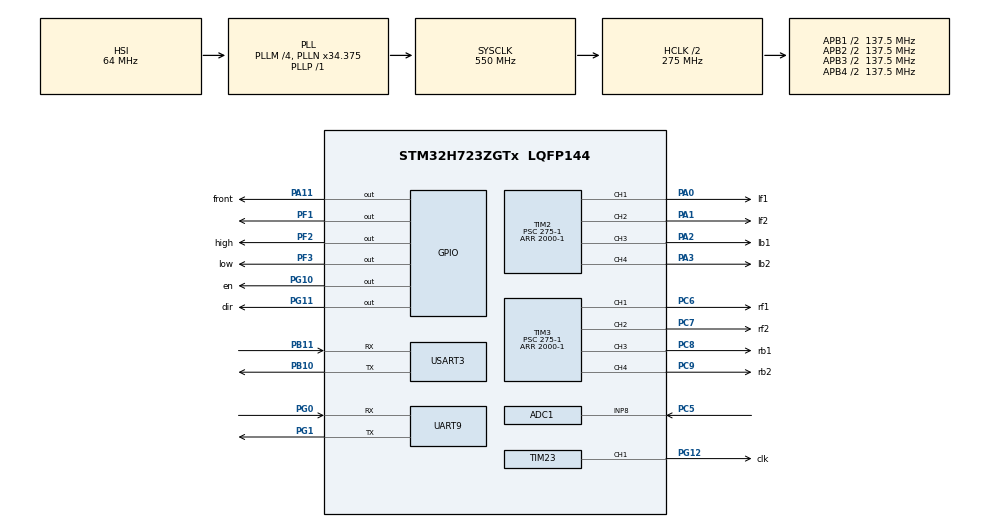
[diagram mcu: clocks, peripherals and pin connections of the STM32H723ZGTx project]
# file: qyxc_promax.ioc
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ADC1.Channel-0\#ChannelRegularConversion=ADC_CHANNEL_8
ADC1.NbrOfConversionFlag=1
ADC1.OffsetNumber-0\#ChannelRegularConversion=ADC_OFFSET_NONE
ADC1.OffsetSignedSaturation-0\#ChannelRegularConversion=DISABLE
ADC1.Rank-0\#ChannelRegularConversion=1
ADC1.SamplingTime-0\#ChannelRegularConversion=ADC_SAMPLETIME_1CYCLE_5
ADC1.master=1
Mcu.Family=STM32H7
Mcu.Name=STM32H723ZGTx
Mcu.Package=LQFP144
NVIC.PriorityGroup=NVIC_PRIORITYGROUP_4
NVIC.UART9_IRQn=true\:1\:0\:true\:false\:true\:true\:true\:true
NVIC.USART3_IRQn=true\:1\:0\:true\:false\:true\:true\:true\:true
PA0.GPIO_Label=lf1
PA0.Signal=S_TIM2_CH1_ETR
PA1.GPIO_Label=lf2
PA1.Signal=S_TIM2_CH2
PA11.GPIO_Label=front
PA11.Signal=GPIO_Output
PA13(JTMS/SWDIO).Mode=Serial_Wire
PA13(JTMS/SWDIO).Signal=DEBUG_JTMS-SWDIO
PA14(JTCK/SWCLK).Mode=Serial_Wire
PA14(JTCK/SWCLK).Signal=DEBUG_JTCK-SWCLK
PA2.GPIO_Label=lb1
PA2.Signal=S_TIM2_CH3
PA3.GPIO_Label=lb2
PA3.Signal=S_TIM2_CH4
PB10.Mode=Asynchronous
PB10.Signal=USART3_TX
PB11.Mode=Asynchronous
PB11.Signal=USART3_RX
PC14-OSC32_IN.Mode=LSE-External-Oscillator
PC14-OSC32_IN.Signal=RCC_OSC32_IN
PC15-OSC32_OUT.Mode=LSE-External-Oscillator
PC15-OSC32_OUT.Signal=RCC_OSC32_OUT
PC5.Signal=ADCx_INP8
PC6.GPIO_Label=rf1
PC6.Signal=S_TIM3_CH1
PC7.GPIO_Label=rf2
PC7.Signal=S_TIM3_CH2
PC8.GPIO_Label=rb1
PC8.Signal=S_TIM3_CH3
PC9.GPIO_Label=rb2
PC9.Signal=S_TIM3_CH4
PF1.GPIO_PuPd=GPIO_NOPULL
PF1.PinState=GPIO_PIN_RESET
PF1.Signal=GPIO_Output
PF2.GPIO_Label=high
PF2.Signal=GPIO_Output
PF3.GPIO_Label=low
PF3.Signal=GPIO_Output
PG0.Mode=Asynchronous
PG0.Signal=UART9_RX
PG1.Mode=Asynchronous
PG1.Signal=UART9_TX
PG10.GPIO_Label=en
PG10.Signal=GPIO_Output
PG11.GPIO_Label=dir
PG11.Signal=GPIO_Output
PG12.GPIO_Label=clk
PG12.Mode=PWM Generation1 CH1
PG12.Signal=TIM23_CH1
ProjectManager.HeapSize=0x200
ProjectManager.StackSize=0x400
ProjectManager.TargetToolchain=MDK-ARM V5.32
RCC.ADCFreq_Value=129000000
RCC.APB1Freq_Value=137500000
RCC.APB2Freq_Value=137500000
RCC.APB3Freq_Value=137500000
RCC.APB4Freq_Value=137500000
RCC.CortexFreq_Value=550000000
RCC.D1PPRE=RCC_APB3_DIV2
RCC.D2PPRE1=RCC_APB1_DIV2
RCC.D2PPRE2=RCC_APB2_DIV2
RCC.D3PPRE=RCC_APB4_DIV2
RCC.DIVM1=4
RCC.DIVN1=34
RCC.DIVP1=1
RCC.HCLKFreq_Value=275000000
RCC.HPRE=RCC_HCLK_DIV2
RCC.PLL2FRACN=0
RCC.PLL3FRACN=0
RCC.PLLFRACN=3072
RCC.SYSCLKFreq_VALUE=550000000
RCC.SYSCLKSource=RCC_SYSCLKSOURCE_PLLCLK
RCC.USBFreq_Value=275000000
SH.ADCx_INP8.0=ADC1_INP8,IN8-Single-Ended
SH.S_TIM2_CH1_ETR.0=TIM2_CH1,PWM Generation1 CH1
SH.S_TIM2_CH2.0=TIM2_CH2,PWM Generation2 CH2
SH.S_TIM2_CH3.0=TIM2_CH3,PWM Generation3 CH3
SH.S_TIM2_CH4.0=TIM2_CH4,PWM Generation4 CH4
SH.S_TIM3_CH1.0=TIM3_CH1,PWM Generation1 CH1
SH.S_TIM3_CH2.0=TIM3_CH2,PWM Generation2 CH2
SH.S_TIM3_CH3.0=TIM3_CH3,PWM Generation3 CH3
SH.S_TIM3_CH4.0=TIM3_CH4,PWM Generation4 CH4
TIM12.Period=10000-1
TIM12.Prescaler=2750-1
TIM2.Channel-PWM\ Generation1\ CH1=TIM_CHANNEL_1
TIM2.Channel-PWM\ Generation2\ CH2=TIM_CHANNEL_2
TIM2.Channel-PWM\ Generation3\ CH3=TIM_CHANNEL_3
TIM2.Channel-PWM\ Generation4\ CH4=TIM_CHANNEL_4
TIM2.Period=2000-1
TIM2.Prescaler=275-1
TIM23.Channel-PWM\ Generation1\ CH1=TIM_CHANNEL_1
TIM3.Channel-PWM\ Generation1\ CH1=TIM_CHANNEL_1
TIM3.Channel-PWM\ Generation2\ CH2=TIM_CHANNEL_2
TIM3.Channel-PWM\ Generation3\ CH3=TIM_CHANNEL_3
TIM3.Channel-PWM\ Generation4\ CH4=TIM_CHANNEL_4
TIM3.Period=2000-1
TIM3.Prescaler=275-1
USART3.VirtualMode-Asynchronous=VM_ASYNC
VP_MEMORYMAP_VS_MEMORYMAP.Mode=CurAppReg
VP_TIM12_VS_ClockSourceINT.Mode=Internal
VP_TIM5_VS_ClockSourceINT.Mode=Internal
VP_TIM8_VS_ClockSourceINT.Mode=Internal
board=custom

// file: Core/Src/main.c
/* USER CODE BEGIN Header */
/**
  ******************************************************************************
  * @file           : main.c
  * @brief          : Main program body
  ******************************************************************************
  * @attention
  *
  * Copyright (c) 2024 STMicroelectronics.
  * All rights reserved.
  *
  * This software is licensed under terms that can be found in the LICENSE file
  * in the root directory of this software component.
  * If no LICENSE file comes with this software, it is provided AS-IS.
  *
  ******************************************************************************
  */
/* USER CODE END Header */
#include "main.h"
#include "adc.h"
#include "memorymap.h"
#include "tim.h"
#include "usart.h"
#include "gpio.h"

/* USER CODE BEGIN Includes */
#include "pid.h"
#include "motor.h"
#include "esp8266.h"
#include "onenet.h"
#include "ctrl.h"
#include <stdint.h>
/* USER CODE END Includes */

/* USER CODE BEGIN PTD */
//extern unsigned char esp8266_buf[512];
//extern unsigned char data[2];
//extern int i;
//extern unsigned char esp8266_data[2];

int qyvalue;
	int aaa=0;

uint8_t detect[1];
/* USER CODE END PTD */

/* USER CODE BEGIN PM */
/*void HAL_TIM_PeriodElapsedCallback(TIM_HandleTypeDef *htim)
{

    if (htim == (&htim5))
    {
	  AutoReloadCallback();

    }
}*/
/* USER CODE END PM */

/* USER CODE BEGIN PV */
void hardware_init()
{
	//HAL_TIM_Encoder_Start(&htim1, TIM_CHANNEL_ALL);//�򿪶�ʱ����encoderģʽ
	//HAL_TIM_Encoder_Start(&htim4, TIM_CHANNEL_ALL);//�򿪶�ʱ����encoderģʽ
	//HAL_TIM_Encoder_Start(&htim24, TIM_CHANNEL_ALL);//�򿪶�ʱ����encoderģʽ

	HAL_TIM_Base_Start_IT(&htim5);

	motor_init();

		unsigned short timeCount = 0;	//���ͼ������
		unsigned char *dataPtr = NULL;
		qyflag=0;
	//sport_Flag=0;
		HAL_UART_Receive_IT(&huart9, &esp8266_data[0], 1);

		ESP8266_Init();//stuck

	//HAL_UART_Printf(USART_DEBUG, "Connect MQTT Server Success\r\n");

	while(OneNet_DevLink())			//����OneNET
		HAL_Delay(500);
				OneNET_Subscribe();

}
/* USER CODE END PV */

void SystemClock_Config(void);
/* USER CODE BEGIN PFP */
void temp(void) {
    // 暂无功能的临时函数
}
/* USER CODE END PFP */

int main(void)
{

  /* USER CODE BEGIN 1 */
	unsigned short timeCount = 0;	//���ͼ������

	unsigned char *dataPtr = NULL;
  /* USER CODE END 1 */

  /* MCU Configuration--------------------------------------------------------*/

  /* Reset of all peripherals, Initializes the Flash interface and the Systick. */
  HAL_Init();

  /* Configure the system clock */
  SystemClock_Config();

  /* Initialize all configured peripherals */
  MX_GPIO_Init();
  MX_ADC1_Init();
  MX_TIM2_Init();
  MX_TIM3_Init();
  MX_TIM8_Init();
  MX_TIM12_Init();
  MX_UART9_Init();
  MX_USART3_UART_Init();
  MX_TIM5_Init();
  MX_TIM23_Init();
  /* USER CODE BEGIN 2 */
	//HAL_GPIO_WritePin(GPIOA, GPIO_PIN_11, 0);
	cot_init();
  hardware_init();

	//HAL_UART_Printf(&huart3, "333333\r\n");
	HAL_UART_Printf(&huart9, "99999r\n");

	//R_target_val=250;
 // L_target_val=150;
	//pid.target_val=200;

	//HAL_UART_Printf(&huart3 , "111111111");

  /* USER CODE END 2 */

  /* Infinite loop */
  /* USER CODE BEGIN WHILE */
  while (1)
  {

//	float a = Read_Encoder(4);
//  float b = Read_Encoder(1);
//	float c = Read_Encoder(24);

		HAL_UART_Receive_IT(&huart3, &esp8266_data[0], 1);

		if(++timeCount >= 100)
{

//	uint16_t smog_value = ADC_Read()/100;

//			HAL_UART_Printf(USART_DEBUG, "%d\r\n",smog_value);

			OneNet_SendData();									//��������

			timeCount = 0;
			ESP8266_Clear();

				if(qyflag==1)
				{
					aaa++;
					if(aaa<=10)
				qyvalue+=(rand1() % 50) + 51;
					else
				qyvalue+=(rand1() % 50)+10;

				}
			}
    /* USER CODE END WHILE */

  }
}

void SystemClock_Config(void)
{
  RCC_OscInitTypeDef RCC_OscInitStruct = {0};
  RCC_ClkInitTypeDef RCC_ClkInitStruct = {0};

  /** Supply configuration update enable
  */
  HAL_PWREx_ConfigSupply(PWR_LDO_SUPPLY);

  /** Configure the main internal regulator output voltage
  */
  __HAL_PWR_VOLTAGESCALING_CONFIG(PWR_REGULATOR_VOLTAGE_SCALE0);

  while(!__HAL_PWR_GET_FLAG(PWR_FLAG_VOSRDY)) {}

  /** Initializes the RCC Oscillators according to the specified parameters
  * in the RCC_OscInitTypeDef structure.
  */
  RCC_OscInitStruct.OscillatorType = RCC_OSCILLATORTYPE_HSI;
  RCC_OscInitStruct.HSIState = RCC_HSI_DIV1;
  RCC_OscInitStruct.HSICalibrationValue = 64;
  RCC_OscInitStruct.PLL.PLLState = RCC_PLL_ON;
  RCC_OscInitStruct.PLL.PLLSource = RCC_PLLSOURCE_HSI;
  RCC_OscInitStruct.PLL.PLLM = 4;
  RCC_OscInitStruct.PLL.PLLN = 34;
  RCC_OscInitStruct.PLL.PLLP = 1;
  RCC_OscInitStruct.PLL.PLLQ = 2;
  RCC_OscInitStruct.PLL.PLLR = 2;
  RCC_OscInitStruct.PLL.PLLRGE = RCC_PLL1VCIRANGE_3;
  RCC_OscInitStruct.PLL.PLLVCOSEL = RCC_PLL1VCOWIDE;
  RCC_OscInitStruct.PLL.PLLFRACN = 3072;
  if (HAL_RCC_OscConfig(&RCC_OscInitStruct) != HAL_OK)
  {
    Error_Handler();
  }

  /** Initializes the CPU, AHB and APB buses clocks
  */
  RCC_ClkInitStruct.ClockType = RCC_CLOCKTYPE_HCLK|RCC_CLOCKTYPE_SYSCLK
                              |RCC_CLOCKTYPE_PCLK1|RCC_CLOCKTYPE_PCLK2
                              |RCC_CLOCKTYPE_D3PCLK1|RCC_CLOCKTYPE_D1PCLK1;
  RCC_ClkInitStruct.SYSCLKSource = RCC_SYSCLKSOURCE_PLLCLK;
  RCC_ClkInitStruct.SYSCLKDivider = RCC_SYSCLK_DIV1;
  RCC_ClkInitStruct.AHBCLKDivider = RCC_HCLK_DIV2;
  RCC_ClkInitStruct.APB3CLKDivider = RCC_APB3_DIV2;
  RCC_ClkInitStruct.APB1CLKDivider = RCC_APB1_DIV2;
  RCC_ClkInitStruct.APB2CLKDivider = RCC_APB2_DIV2;
  RCC_ClkInitStruct.APB4CLKDivider = RCC_APB4_DIV2;

  if (HAL_RCC_ClockConfig(&RCC_ClkInitStruct, FLASH_LATENCY_3) != HAL_OK)
  {
    Error_Handler();
  }
}

void Error_Handler(void)
{
  __disable_irq();
  while (1)
  {
  }
}
